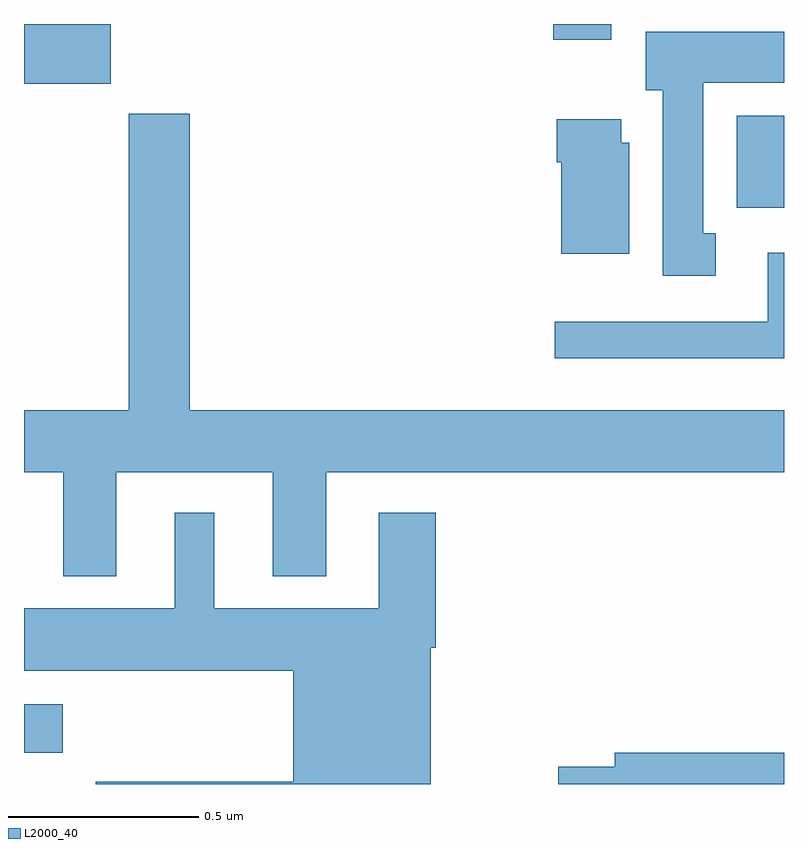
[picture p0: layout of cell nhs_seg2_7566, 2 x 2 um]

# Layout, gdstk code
import gdstk
lib = gdstk.Library(unit=1e-6, precision=1e-09)
def R(c, l, rs):  # rectangles x0, y0, x1, y1
    for r in rs: c.add(gdstk.rectangle(r[:2], r[2:], *l))
def P(c, l, *ps):  # polygons
    for p in ps: c.add(gdstk.Polygon(p, *l))
L2000_40 = (2000, 40)

nhs_seg2_7566 = lib.new_cell('nhs_seg2_7566')
R(nhs_seg2_7566, L2000_40, [(205,662.882,205.102,663.01), (206.876,664.316,207,664.558), (205,664.643,205.228,664.8), (206.393,664.758,206.545,664.8)])
P(nhs_seg2_7566, L2000_40, [(206.821,664.25),(206.788,664.25),(206.788,664.646),(207,664.646),(207,664.78),(206.636,664.78),(206.636,664.626),(206.681,664.626),(206.681,664.137),(206.821,664.137)],
  [(205.243,663.62),(205.655,663.62),(205.655,663.347),(205.795,663.347),(205.795,663.62),(207,663.62),(207,663.784),(205.436,663.784),(205.436,664.564),(205.276,664.564),(205.276,663.784),(205,663.784),(205,663.62),(205.103,663.62),(205.103,663.347),(205.243,663.347)],
  [(206.593,664.488),(206.572,664.488),(206.572,664.549),(206.402,664.549),(206.402,664.436),(206.414,664.436),(206.414,664.196),(206.593,664.196)],
  [(207,664.198),(206.957,664.198),(206.957,664.017),(206.397,664.017),(206.397,663.92),(207,663.92)],
  [(206.071,663.158),(206.084,663.158),(206.084,663.514),(205.934,663.514),(205.934,663.262),(205.501,663.262),(205.501,663.514),(205.397,663.514),(205.397,663.262),(205,663.262),(205,663.098),(205.709,663.098),(205.709,662.806),(205.189,662.806),(205.189,662.8),(206.071,662.8)],
  [(207,662.882),(206.555,662.882),(206.555,662.846),(206.406,662.846),(206.406,662.8),(207,662.8)])

lib.write_gds('nhs_seg2_7566.gds')
